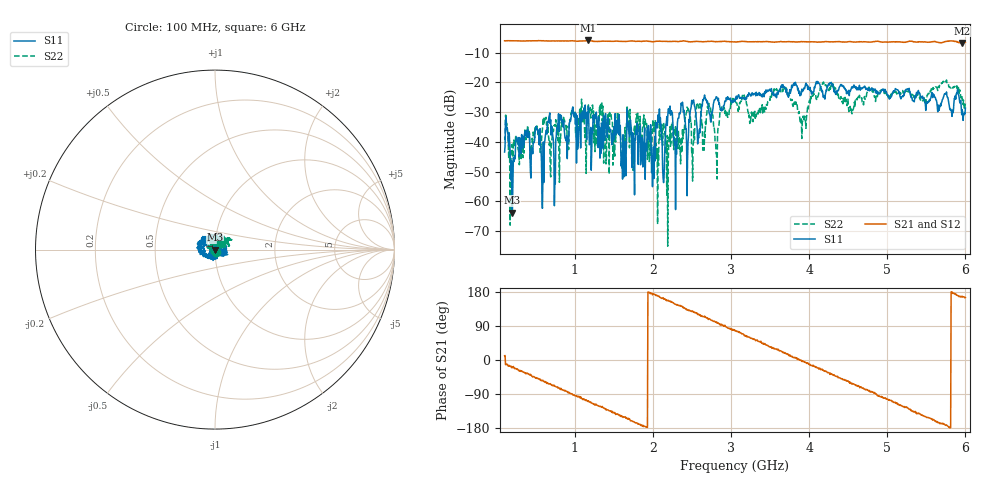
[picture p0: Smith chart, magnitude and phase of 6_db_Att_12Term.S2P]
!Created with skrf (http://scikit-rf.org).
# MHz S RI R 50.0
!freq ReS11 ImS11 ReS21 ImS21 ReS12 ImS12 ReS22 ImS22
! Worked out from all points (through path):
!   1001 points, 100 MHz to 6 GHz, reference 50 ohm
!   highest |S21| = -5.93 dB at 1.168 GHz (marker M1); lowest = -6.8 dB at 5.953 GHz (marker M2)
!   group delay of S21, straight-line fit = 258 ps
!   lowest |S11| = -63.7 dB at 194.4 MHz (marker M3), VSWR 1.00, Z = 50 - j0.0576 ohm
!   |S11| at or under -10 dB: start of sweep to end of sweep
!   |S22| runs from -75.0 to -19.2 dB; largest |S21 - S12| = 0.058
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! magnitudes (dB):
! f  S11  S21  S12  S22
! 100 MHz  -43.4  -6.0  -6.0  -38.5
! 194.4 MHz  -63.7  -6.0  -6.0  -41.1
! 383.2 MHz  -37.1  -6.1  -6.1  -36.1
! 1.085 GHz  -30.2  -6.1  -6.1  -25.6
! 1.168 GHz  -33.6  -5.9  -5.9  -28.1
! 1.622 GHz  -42.5  -6.3  -6.2  -40.5
! 1.687 GHz  -36.0  -6.2  -6.1  -32.7
! 2 GHz  -45.5  -6.3  -6.3  -32.5
! 2.071 GHz  -33.4  -6.2  -6.1  -48.0
! 2.13 GHz  -52.2  -6.2  -6.1  -35.8
! 2.218 GHz  -28.0  -6.3  -6.2  -34.9
! 2.283 GHz  -39.8  -6.2  -6.2  -36.4
! 2.366 GHz  -27.3  -6.2  -6.1  -40.6
! 2.436 GHz  -58.1  -6.2  -6.1  -28.3
! 2.507 GHz  -26.5  -6.3  -6.3  -53.2
! 2.725 GHz  -30.7  -6.2  -6.1  -27.9
! 2.808 GHz  -24.9  -6.3  -6.2  -43.9
! 3.05 GHz  -26.4  -6.4  -6.3  -26.2
! 4.035 GHz  -24.0  -6.4  -6.4  -24.8
! 5.021 GHz  -25.0  -6.5  -6.4  -24.6
! 5.953 GHz  -30.9  -6.8  -6.9  -24.2
! 6 GHz  -28.7  -6.5  -6.5  -27.1
